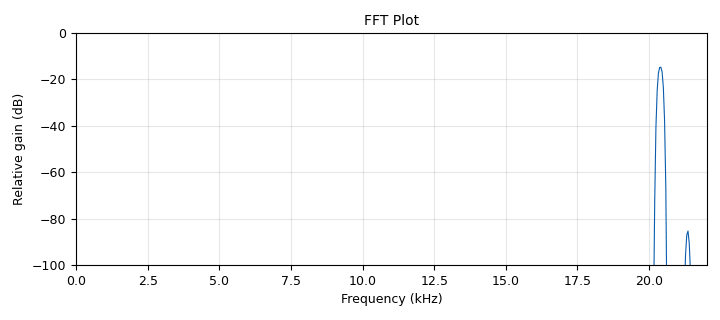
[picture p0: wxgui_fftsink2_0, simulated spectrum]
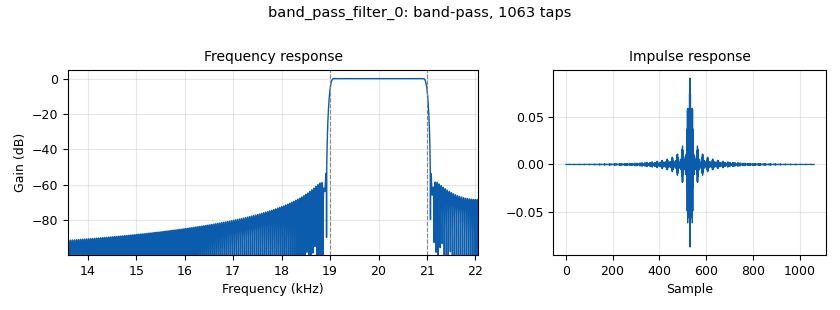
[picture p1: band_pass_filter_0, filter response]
<?xml version='1.0' encoding='utf-8'?>
<?grc format='1' created='3.7.5'?>
<flow_graph>
<block>
<key>options</key>
<param><key>id</key><value>top_block</value></param>
<param><key>generate_options</key><value>wx_gui</value></param>
<param><key>category</key><value>Custom</value></param>
</block>
<block>
<key>variable</key>
<param><key>id</key><value>samp_rate</value></param>
<param><key>value</key><value>44100</value></param>
</block>
<block>
<key>variable</key>
<param><key>id</key><value>low_rate</value></param>
<param><key>value</key><value>19e3</value></param>
</block>
<block>
<key>variable</key>
<param><key>id</key><value>high_rate</value></param>
<param><key>value</key><value>21e3</value></param>
</block>
<block>
<key>analog_sig_source_x</key>
<param><key>id</key><value>analog_sig_source_x_0_0</value></param>
<param><key>type</key><value>float</value></param>
<param><key>samp_rate</key><value>samp_rate</value></param>
<param><key>waveform</key><value>analog.GR_COS_WAVE</value></param>
<param><key>freq</key><value>20440</value></param>
<param><key>amp</key><value>0.4</value></param>
<param><key>offset</key><value>0</value></param>
</block>
<block>
<key>analog_sig_source_x</key>
<param><key>id</key><value>analog_sig_source_x_0</value></param>
<param><key>type</key><value>float</value></param>
<param><key>samp_rate</key><value>samp_rate</value></param>
<param><key>waveform</key><value>analog.GR_COS_WAVE</value></param>
<param><key>freq</key><value>20350</value></param>
<param><key>amp</key><value>0.4</value></param>
<param><key>offset</key><value>0</value></param>
</block>
<block>
<key>blocks_add_xx</key>
<param><key>id</key><value>blocks_add_xx_0_0</value></param>
<param><key>type</key><value>float</value></param>
</block>
<block>
<key>analog_sig_source_x</key>
<param><key>id</key><value>analog_sig_source_x_0_0_0</value></param>
<param><key>type</key><value>float</value></param>
<param><key>samp_rate</key><value>samp_rate</value></param>
<param><key>waveform</key><value>analog.GR_COS_WAVE</value></param>
<param><key>freq</key><value>18440</value></param>
<param><key>amp</key><value>0.4</value></param>
<param><key>offset</key><value>0</value></param>
</block>
<block>
<key>analog_sig_source_x</key>
<param><key>id</key><value>analog_sig_source_x_0_1</value></param>
<param><key>type</key><value>float</value></param>
<param><key>samp_rate</key><value>samp_rate</value></param>
<param><key>waveform</key><value>analog.GR_COS_WAVE</value></param>
<param><key>freq</key><value>21350</value></param>
<param><key>amp</key><value>0.4</value></param>
<param><key>offset</key><value>0</value></param>
</block>
<block>
<key>blocks_add_xx</key>
<param><key>id</key><value>blocks_add_xx_0</value></param>
<param><key>type</key><value>float</value></param>
</block>
<block>
<key>blocks_add_xx</key>
<param><key>id</key><value>blocks_add_xx_0_0_0</value></param>
<param><key>type</key><value>float</value></param>
</block>
<block>
<key>blocks_file_sink</key>
<param><key>id</key><value>blocks_file_sink_0</value></param>
<param><key>file</key><value>/home/david/tmp/hackrf_file.wav</value></param>
<param><key>type</key><value>float</value></param>
</block>
<block>
<key>wxgui_fftsink2</key>
<param><key>id</key><value>wxgui_fftsink2_0</value></param>
<param><key>type</key><value>float</value></param>
<param><key>title</key><value>FFT Plot</value></param>
<param><key>samp_rate</key><value>samp_rate</value></param>
<param><key>baseband_freq</key><value>0</value></param>
<param><key>y_per_div</key><value>10</value></param>
<param><key>y_divs</key><value>10</value></param>
<param><key>ref_level</key><value>0</value></param>
<param><key>ref_scale</key><value>2.0</value></param>
<param><key>fft_size</key><value>1024</value></param>
<param><key>fft_rate</key><value>15</value></param>
<param><key>peak_hold</key><value>False</value></param>
<param><key>average</key><value>False</value></param>
<param><key>avg_alpha</key><value>0</value></param>
<param><key>win</key><value>None</value></param>
<param><key>freqvar</key><value>None</value></param>
</block>
<block>
<key>band_pass_filter</key>
<param><key>id</key><value>band_pass_filter_0</value></param>
<param><key>type</key><value>fir_filter_fff</value></param>
<param><key>decim</key><value>1</value></param>
<param><key>gain</key><value>1</value></param>
<param><key>samp_rate</key><value>samp_rate</value></param>
<param><key>low_cutoff_freq</key><value>low_rate</value></param>
<param><key>high_cutoff_freq</key><value>high_rate</value></param>
<param><key>width</key><value>100</value></param>
<param><key>win</key><value>firdes.WIN_HAMMING</value></param>
</block>
<connection><source_block_id>analog_sig_source_x_0</source_block_id><sink_block_id>blocks_add_xx_0</sink_block_id><source_key>0</source_key><sink_key>0</sink_key></connection>
<connection><source_block_id>analog_sig_source_x_0_0</source_block_id><sink_block_id>blocks_add_xx_0</sink_block_id><source_key>0</source_key><sink_key>1</sink_key></connection>
<connection><source_block_id>analog_sig_source_x_0_1</source_block_id><sink_block_id>blocks_add_xx_0_0</sink_block_id><source_key>0</source_key><sink_key>0</sink_key></connection>
<connection><source_block_id>analog_sig_source_x_0_0_0</source_block_id><sink_block_id>blocks_add_xx_0_0</sink_block_id><source_key>0</source_key><sink_key>1</sink_key></connection>
<connection><source_block_id>blocks_add_xx_0_0</source_block_id><sink_block_id>blocks_add_xx_0_0_0</sink_block_id><source_key>0</source_key><sink_key>0</sink_key></connection>
<connection><source_block_id>blocks_add_xx_0</source_block_id><sink_block_id>blocks_add_xx_0_0_0</sink_block_id><source_key>0</source_key><sink_key>1</sink_key></connection>
<connection><source_block_id>blocks_add_xx_0_0_0</source_block_id><sink_block_id>band_pass_filter_0</sink_block_id><source_key>0</source_key><sink_key>0</sink_key></connection>
<connection><source_block_id>band_pass_filter_0</source_block_id><sink_block_id>blocks_file_sink_0</sink_block_id><source_key>0</source_key><sink_key>0</sink_key></connection>
<connection><source_block_id>band_pass_filter_0</source_block_id><sink_block_id>wxgui_fftsink2_0</sink_block_id><source_key>0</source_key><sink_key>0</sink_key></connection>
</flow_graph>
